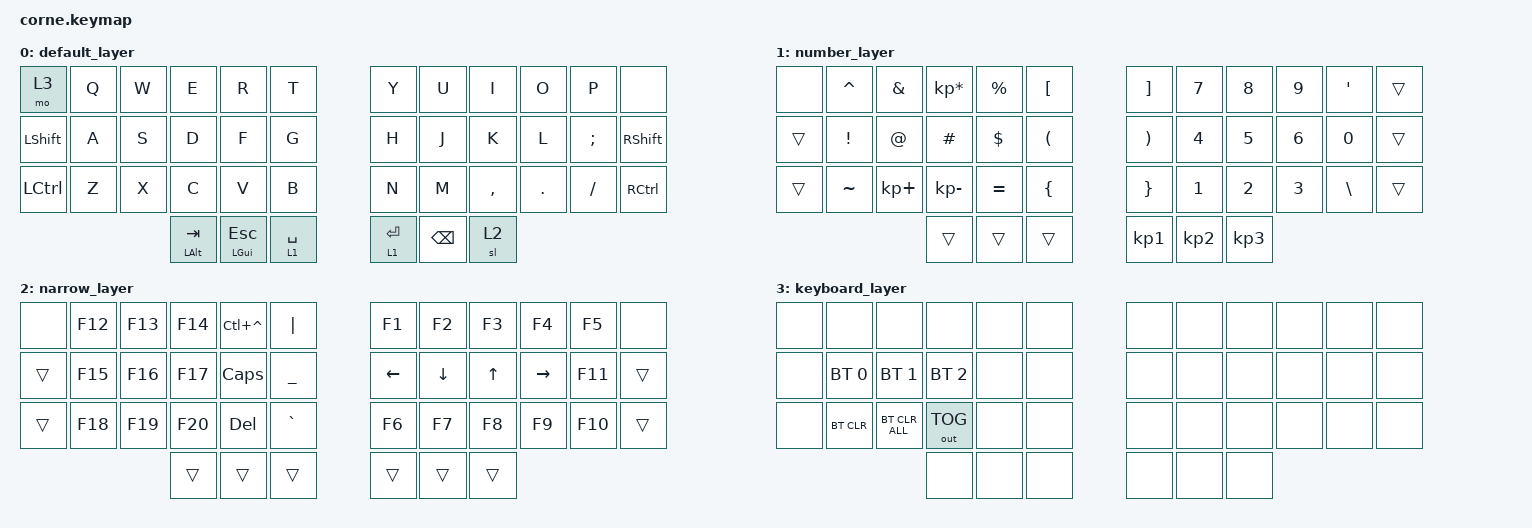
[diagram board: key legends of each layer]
#include <behaviors.dtsi>
#include <dt-bindings/zmk/bt.h>
#include <dt-bindings/zmk/keys.h>
#include <dt-bindings/zmk/outputs.h>

#define DEFAULT_L 0
#define SYMBOLS_L 1
#define ARROWS_L  2
#define NUMBERS_L 3

/ {
    behaviors {
        hm: homerow_mods {
            compatible = "zmk,behavior-hold-tap";
            label = "HOMEROW_MODS";
            #binding-cells = <2>;
            tapping-term-ms = <300>;
            quick-tap-ms = <200>;
            flavor = "tap-preferred";
            bindings = <&kp>, <&kp>;
        };
    };

    keymap {
        compatible = "zmk,keymap";

        default_layer {
            bindings = <
&mo 3           &kp Q  &kp W  &kp E             &kp R             &kp T          &kp Y        &kp U     &kp I      &kp O    &kp P     &none
&kp LEFT_SHIFT  &kp A  &kp S  &kp D             &kp F             &kp G          &kp H        &kp J     &kp K      &kp L    &kp SEMI  &kp RIGHT_SHIFT
&kp LCTRL       &kp Z  &kp X  &kp C             &kp V             &kp B          &kp N        &kp M     &kp COMMA  &kp DOT  &kp FSLH  &kp RCTRL
                              &mt LEFT_ALT TAB  &mt LEFT_GUI ESC  &lt 1 SPACE    &lt 1 ENTER  &kp BSPC  &sl 2
            >;
        };

        number_layer {
            bindings = <
&none   &kp CARET  &kp AMPS     &kp KP_MULTIPLY  &kp PRCNT  &kp LBKT          &kp RBKT         &kp N7     &kp N8     &kp N9        &kp SQT        &trans
&trans  &kp EXCL   &kp AT       &kp HASH         &kp DLLR   &kp LPAR          &kp RPAR         &kp N4     &kp N5     &kp NUMBER_6  &kp N0         &trans
&trans  &kp TILDE  &kp KP_PLUS  &kp KP_MINUS     &kp EQUAL  &kp LEFT_BRACE    &kp RIGHT_BRACE  &kp N1     &kp N2     &kp N3        &kp BACKSLASH  &trans
                                &trans           &trans     &trans            &kp KP_N1        &kp KP_N2  &kp KP_N3
            >;
        };

        narrow_layer {
            bindings = <
&none   &kp F12  &kp F13  &kp F14  &kp LC(CARET)  &kp PIPE          &kp F1    &kp F2    &kp F3  &kp F4     &kp F5   &none
&trans  &kp F15  &kp F16  &kp F17  &kp CAPSLOCK   &kp UNDERSCORE    &kp LEFT  &kp DOWN  &kp UP  &kp RIGHT  &kp F11  &trans
&trans  &kp F18  &kp F19  &kp F20  &kp DELETE     &kp GRAVE         &kp F6    &kp F7    &kp F8  &kp F9     &kp F10  &trans
                          &trans   &trans         &trans            &trans    &trans    &trans
            >;
        };

        keyboard_layer {
            bindings = <
&none  &none         &none           &none         &none  &none    &none  &none  &none  &none  &none  &none
&none  &bt BT_SEL 0  &bt BT_SEL 1    &bt BT_SEL 2  &none  &none    &none  &none  &none  &none  &none  &none
&none  &bt BT_CLR    &bt BT_CLR_ALL  &out OUT_TOG  &none  &none    &none  &none  &none  &none  &none  &none
                                     &none         &none  &none    &none  &none  &none
            >;
        };
    };
};
